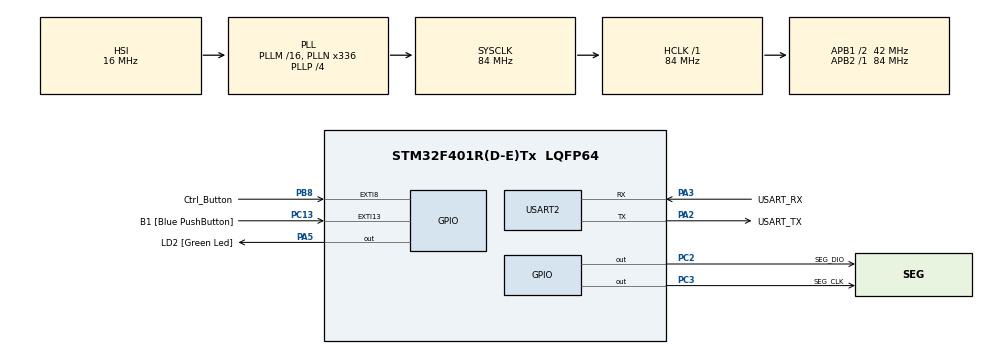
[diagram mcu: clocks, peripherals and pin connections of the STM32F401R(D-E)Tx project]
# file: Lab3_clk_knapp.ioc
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Mcu.Family=STM32F4
Mcu.Name=STM32F401R(D-E)Tx
Mcu.Package=LQFP64
NVIC.EXTI9_5_IRQn=true\:0\:0\:false\:false\:true\:true\:true\:true
NVIC.PriorityGroup=NVIC_PRIORITYGROUP_0
NVIC.TIM2_IRQn=true\:0\:0\:false\:false\:true\:true\:true\:true
PA13.GPIO_Label=TMS
PA13.Mode=Serial_Wire
PA13.Signal=SYS_JTMS-SWDIO
PA14.GPIO_Label=TCK
PA14.Mode=Serial_Wire
PA14.Signal=SYS_JTCK-SWCLK
PA2.GPIO_Label=USART_TX
PA2.GPIO_Mode=GPIO_MODE_AF_PP
PA2.GPIO_PuPd=GPIO_NOPULL
PA2.GPIO_Speed=GPIO_SPEED_FREQ_LOW
PA2.Mode=Asynchronous
PA2.Signal=USART2_TX
PA3.GPIO_Label=USART_RX
PA3.GPIO_Mode=GPIO_MODE_AF_PP
PA3.GPIO_PuPd=GPIO_NOPULL
PA3.GPIO_Speed=GPIO_SPEED_FREQ_LOW
PA3.Mode=Asynchronous
PA3.Signal=USART2_RX
PA5.GPIO_Label=LD2 [Green Led]
PA5.GPIO_Mode=GPIO_MODE_OUTPUT_PP
PA5.GPIO_PuPd=GPIO_NOPULL
PA5.GPIO_Speed=GPIO_SPEED_FREQ_LOW
PA5.Signal=GPIO_Output
PB3.GPIO_Label=SWO
PB3.Signal=SYS_JTDO-SWO
PB8.GPIO_Label=Ctrl_Button
PB8.GPIO_ModeDefaultEXTI=GPIO_MODE_IT_FALLING
PB8.GPIO_PuPd=GPIO_NOPULL
PB8.Signal=GPXTI8
PC13-ANTI_TAMP.GPIO_Label=B1 [Blue PushButton]
PC13-ANTI_TAMP.GPIO_ModeDefaultEXTI=GPIO_MODE_IT_FALLING
PC13-ANTI_TAMP.GPIO_PuPd=GPIO_NOPULL
PC13-ANTI_TAMP.Signal=GPXTI13
PC14-OSC32_IN.Mode=LSE-External-Oscillator
PC14-OSC32_IN.Signal=RCC_OSC32_IN
PC15-OSC32_OUT.Mode=LSE-External-Oscillator
PC15-OSC32_OUT.Signal=RCC_OSC32_OUT
PC2.GPIO_Label=SEG_DIO
PC2.GPIO_ModeDefaultOutputPP=GPIO_MODE_OUTPUT_OD
PC2.GPIO_PuPd=GPIO_NOPULL
PC2.Signal=GPIO_Output
PC3.GPIO_Label=SEG_CLK
PC3.Signal=GPIO_Output
PH0\ -\ OSC_IN.Mode=HSE-External-Clock-Source
PH0\ -\ OSC_IN.Signal=RCC_OSC_IN
PH1\ -\ OSC_OUT.Mode=HSE-External-Clock-Source
PH1\ -\ OSC_OUT.Signal=RCC_OSC_OUT
ProjectManager.HeapSize=0x200
ProjectManager.StackSize=0x400
ProjectManager.TargetToolchain=STM32CubeIDE
RCC.48MHZClocksFreq_Value=48000000
RCC.AHBFreq_Value=84000000
RCC.APB1CLKDivider=RCC_HCLK_DIV2
RCC.APB1Freq_Value=42000000
RCC.APB1TimFreq_Value=84000000
RCC.APB2Freq_Value=84000000
RCC.APB2TimFreq_Value=84000000
RCC.CortexFreq_Value=84000000
RCC.HCLKFreq_Value=84000000
RCC.HSE_VALUE=8000000
RCC.HSI_VALUE=16000000
RCC.PLLN=336
RCC.PLLP=RCC_PLLP_DIV4
RCC.PLLQ=7
RCC.SYSCLKFreq_VALUE=84000000
RCC.SYSCLKSource=RCC_SYSCLKSOURCE_PLLCLK
RCC.VCOOutputFreq_Value=336000000
TIM2.Period=21000000-1
TIM2.Prescaler=2-1
USART2.VirtualMode=VM_ASYNC
VP_TIM2_VS_ClockSourceINT.Mode=Internal
board=NUCLEO-F401RE

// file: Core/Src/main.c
/* USER CODE BEGIN Header */
/**
  ******************************************************************************
  * @file           : main.c
  * @brief          : Main program body
  ******************************************************************************
  * @attention
  *
  * Copyright (c) 2024 STMicroelectronics.
  * All rights reserved.
  *
  * This software is licensed under terms that can be found in the LICENSE file
  * in the root directory of this software component.
  * If no LICENSE file comes with this software, it is provided AS-IS.
  *
  ******************************************************************************
  */
/* USER CODE END Header */
#include "main.h"
#include "quad_sseg.h"
#include <stdio.h>
#include <string.h>

/* USER CODE BEGIN PM */
#define BOUNCE_DELAY_MS 10
/* USER CODE END PM */

TIM_HandleTypeDef htim2;

UART_HandleTypeDef huart2;

void SystemClock_Config(void);
static void MX_GPIO_Init(void);
static void MX_USART2_UART_Init(void);
static void MX_TIM2_Init(void);

/* USER CODE BEGIN PFP */
uint16_t button_exti_count; //ska hålla antalet gånger interruptrutinen/callback-funktionen körts
uint16_t button_debounced_count; // håller hur många gånger användaren upplever att de tryckt på knappen
uint8_t unhandled_exti;
uint32_t last_flank_causing_exti;
uint32_t sekunder = 45;
uint32_t minuter = 59;
uint32_t timmar = 23;
uint8_t colon_state = 0;
uint16_t b1_pressed;
uint8_t half_sec = 0;
/* USER CODE END PFP */

/* USER CODE BEGIN 0 */
void uart_print_menu(void) {
	char menu[] = "Select a mode:\r\n"
			"1. Clock Mode\r\n"
			"2. Button Mode\r\n";
	HAL_UART_Transmit(&huart2, (uint8_t*) menu, strlen(menu), HAL_MAX_DELAY);
}

int uart_get_menu_choice() {
	char str[1] = { '\0' };
	uint16_t str_len = 1;

	HAL_UART_Receive(&huart2, (uint8_t*) str, str_len, HAL_MAX_DELAY);

	int ret = -1;
	sscanf(str, "%d", &ret);
	return ret;
}

void uart_print_bad_choice()
{
	char str [] = "You select an invalid choice, try again\n";
	HAL_UART_Transmit(&huart2, (uint8_t *)str, strlen(str), HAL_MAX_DELAY);
}

void clock_mode(void)
{

	 while (1)
	 {
		 HAL_TIM_Base_Start_IT(&htim2);
		 b1_pressed = GPIO_PIN_RESET == HAL_GPIO_ReadPin(B1_GPIO_Port, B1_Pin);
		 if (b1_pressed)
		 {
			  qs_put_digits(timmar / 10, timmar % 10, minuter / 10, minuter % 10, colon_state);
		 }else {
			 qs_put_digits(minuter / 10, minuter % 10, sekunder / 10, sekunder % 10, colon_state);
		 }

	 }
}

void button_mode(void)
 {
	int pressed;
	uint32_t now = HAL_GetTick();
	uint32_t passed_time = now - last_flank_causing_exti;
	while (1) {

		if (unhandled_exti) // was set in interrupt
		{
			if (passed_time >= BOUNCE_DELAY_MS)
			{
				pressed = GPIO_PIN_RESET
						== HAL_GPIO_ReadPin(Ctrl_Button_GPIO_Port,
						Ctrl_Button_Pin);
				if (pressed) {
					button_debounced_count++;
				}
			}

			unhandled_exti = 0;
		}
		b1_pressed = GPIO_PIN_RESET == HAL_GPIO_ReadPin(B1_GPIO_Port, B1_Pin);
		if (b1_pressed) {  // Om B1 är nedtryckt
			qs_put_big_num(button_exti_count); // Visa antalet interrupt (med studsar)
		} else {  // Om B1 är släppt
			qs_put_big_num(button_debounced_count); // Visa de avstudsade knapptryckningarna
		}

	}
}

void HAL_GPIO_EXTI_Callback(uint16_t GPIO_Pin)
{
    if (GPIO_Pin == Ctrl_Button_Pin) {
          button_exti_count++;
          unhandled_exti= 1;
          last_flank_causing_exti = HAL_GetTick();

    }

}

void HAL_TIM_PeriodElapsedCallback(TIM_HandleTypeDef *htim)
{

	if (htim->Instance == TIM2)
	{
		colon_state = (colon_state + 1) % 2;
		half_sec ++;
		if (half_sec >= 2)
		{
			half_sec = 0;
			sekunder++;

			if (sekunder >= 60)
			{
				sekunder = 0;
				minuter++;
				if (minuter >= 60)
				{
					minuter = 0;
					timmar++;
					if (timmar >= 24)
					{
						timmar = 0;
					}
				}
			}

		}
	}
}

/* USER CODE END 0 */

int main(void)
{

  /* MCU Configuration--------------------------------------------------------*/

  /* Reset of all peripherals, Initializes the Flash interface and the Systick. */
	HAL_Init();

  /* Configure the system clock */
  SystemClock_Config();

  /* Initialize all configured peripherals */
  MX_GPIO_Init();
  MX_USART2_UART_Init();
  MX_TIM2_Init();

  /* Infinite loop */
  /* USER CODE BEGIN WHILE */
	while (1) {
		/*for (int i = 0; i < 10; i++) {
		    uint32_t dly =250;    // Anropa funktionen num25 med argumenten 0 och i
		    qs_put_big_num(i);
		    HAL_Delay(dly);
		    qs_put_digits(i,i,i,i,0);
		    HAL_Delay(dly);                             // Ny// Fördröjning med HAL_Delay
		    qs_put_digits(i,i,i,i,1);
		    HAL_Delay(dly);                             // Ny fördröjning med HAL_Delay
		}*/

		uart_print_menu();
		int menu_choice = uart_get_menu_choice();
		{
			switch (menu_choice)
			{
				case 1:
					clock_mode(); // Call function for clock mode
					break;
				case 2:
					button_mode(); // Call function for button mode
					break;
				default:
					uart_print_bad_choice(); // Print error message for invalid choice
					uart_print_menu(); // Reprint the menu
					break;
			}
		}
    /* USER CODE END WHILE */

	}
}

void SystemClock_Config(void)
{
  RCC_OscInitTypeDef RCC_OscInitStruct = {0};
  RCC_ClkInitTypeDef RCC_ClkInitStruct = {0};

  /** Configure the main internal regulator output voltage
  */
  __HAL_RCC_PWR_CLK_ENABLE();
  __HAL_PWR_VOLTAGESCALING_CONFIG(PWR_REGULATOR_VOLTAGE_SCALE2);

  /** Initializes the RCC Oscillators according to the specified parameters
  * in the RCC_OscInitTypeDef structure.
  */
  RCC_OscInitStruct.OscillatorType = RCC_OSCILLATORTYPE_HSI;
  RCC_OscInitStruct.HSIState = RCC_HSI_ON;
  RCC_OscInitStruct.HSICalibrationValue = RCC_HSICALIBRATION_DEFAULT;
  RCC_OscInitStruct.PLL.PLLState = RCC_PLL_ON;
  RCC_OscInitStruct.PLL.PLLSource = RCC_PLLSOURCE_HSI;
  RCC_OscInitStruct.PLL.PLLM = 16;
  RCC_OscInitStruct.PLL.PLLN = 336;
  RCC_OscInitStruct.PLL.PLLP = RCC_PLLP_DIV4;
  RCC_OscInitStruct.PLL.PLLQ = 7;
  if (HAL_RCC_OscConfig(&RCC_OscInitStruct) != HAL_OK)
  {
    Error_Handler();
  }

  /** Initializes the CPU, AHB and APB buses clocks
  */
  RCC_ClkInitStruct.ClockType = RCC_CLOCKTYPE_HCLK|RCC_CLOCKTYPE_SYSCLK
                              |RCC_CLOCKTYPE_PCLK1|RCC_CLOCKTYPE_PCLK2;
  RCC_ClkInitStruct.SYSCLKSource = RCC_SYSCLKSOURCE_PLLCLK;
  RCC_ClkInitStruct.AHBCLKDivider = RCC_SYSCLK_DIV1;
  RCC_ClkInitStruct.APB1CLKDivider = RCC_HCLK_DIV2;
  RCC_ClkInitStruct.APB2CLKDivider = RCC_HCLK_DIV1;

  if (HAL_RCC_ClockConfig(&RCC_ClkInitStruct, FLASH_LATENCY_2) != HAL_OK)
  {
    Error_Handler();
  }
}

static void MX_TIM2_Init(void)
{

  TIM_ClockConfigTypeDef sClockSourceConfig = {0};
  TIM_MasterConfigTypeDef sMasterConfig = {0};

  htim2.Instance = TIM2;
  htim2.Init.Prescaler = 2-1;
  htim2.Init.CounterMode = TIM_COUNTERMODE_UP;
  htim2.Init.Period = 21000000-1;
  htim2.Init.ClockDivision = TIM_CLOCKDIVISION_DIV1;
  htim2.Init.AutoReloadPreload = TIM_AUTORELOAD_PRELOAD_DISABLE;
  if (HAL_TIM_Base_Init(&htim2) != HAL_OK)
  {
    Error_Handler();
  }
  sClockSourceConfig.ClockSource = TIM_CLOCKSOURCE_INTERNAL;
  if (HAL_TIM_ConfigClockSource(&htim2, &sClockSourceConfig) != HAL_OK)
  {
    Error_Handler();
  }
  sMasterConfig.MasterOutputTrigger = TIM_TRGO_RESET;
  sMasterConfig.MasterSlaveMode = TIM_MASTERSLAVEMODE_DISABLE;
  if (HAL_TIMEx_MasterConfigSynchronization(&htim2, &sMasterConfig) != HAL_OK)
  {
    Error_Handler();
  }

}

static void MX_USART2_UART_Init(void)
{

  huart2.Instance = USART2;
  huart2.Init.BaudRate = 115200;
  huart2.Init.WordLength = UART_WORDLENGTH_8B;
  huart2.Init.StopBits = UART_STOPBITS_1;
  huart2.Init.Parity = UART_PARITY_NONE;
  huart2.Init.Mode = UART_MODE_TX_RX;
  huart2.Init.HwFlowCtl = UART_HWCONTROL_NONE;
  huart2.Init.OverSampling = UART_OVERSAMPLING_16;
  if (HAL_UART_Init(&huart2) != HAL_OK)
  {
    Error_Handler();
  }

}

static void MX_GPIO_Init(void)
{
  GPIO_InitTypeDef GPIO_InitStruct = {0};

  /* GPIO Ports Clock Enable */
  __HAL_RCC_GPIOC_CLK_ENABLE();
  __HAL_RCC_GPIOH_CLK_ENABLE();
  __HAL_RCC_GPIOA_CLK_ENABLE();
  __HAL_RCC_GPIOB_CLK_ENABLE();

  /*Configure GPIO pin Output Level */
  HAL_GPIO_WritePin(GPIOC, SEG_DIO_Pin|SEG_CLK_Pin, GPIO_PIN_RESET);

  /*Configure GPIO pin Output Level */
  HAL_GPIO_WritePin(LD2_GPIO_Port, LD2_Pin, GPIO_PIN_RESET);

  /*Configure GPIO pin : B1_Pin */
  GPIO_InitStruct.Pin = B1_Pin;
  GPIO_InitStruct.Mode = GPIO_MODE_IT_FALLING;
  GPIO_InitStruct.Pull = GPIO_NOPULL;
  HAL_GPIO_Init(B1_GPIO_Port, &GPIO_InitStruct);

  /*Configure GPIO pin : SEG_DIO_Pin */
  GPIO_InitStruct.Pin = SEG_DIO_Pin;
  GPIO_InitStruct.Mode = GPIO_MODE_OUTPUT_OD;
  GPIO_InitStruct.Pull = GPIO_NOPULL;
  GPIO_InitStruct.Speed = GPIO_SPEED_FREQ_LOW;
  HAL_GPIO_Init(SEG_DIO_GPIO_Port, &GPIO_InitStruct);

  /*Configure GPIO pin : SEG_CLK_Pin */
  GPIO_InitStruct.Pin = SEG_CLK_Pin;
  GPIO_InitStruct.Mode = GPIO_MODE_OUTPUT_PP;
  GPIO_InitStruct.Pull = GPIO_NOPULL;
  GPIO_InitStruct.Speed = GPIO_SPEED_FREQ_LOW;
  HAL_GPIO_Init(SEG_CLK_GPIO_Port, &GPIO_InitStruct);

  /*Configure GPIO pin : LD2_Pin */
  GPIO_InitStruct.Pin = LD2_Pin;
  GPIO_InitStruct.Mode = GPIO_MODE_OUTPUT_PP;
  GPIO_InitStruct.Pull = GPIO_NOPULL;
  GPIO_InitStruct.Speed = GPIO_SPEED_FREQ_LOW;
  HAL_GPIO_Init(LD2_GPIO_Port, &GPIO_InitStruct);

  /*Configure GPIO pin : Ctrl_Button_Pin */
  GPIO_InitStruct.Pin = Ctrl_Button_Pin;
  GPIO_InitStruct.Mode = GPIO_MODE_IT_FALLING;
  GPIO_InitStruct.Pull = GPIO_NOPULL;
  HAL_GPIO_Init(Ctrl_Button_GPIO_Port, &GPIO_InitStruct);

  /* EXTI interrupt init*/
  HAL_NVIC_SetPriority(EXTI9_5_IRQn, 0, 0);
  HAL_NVIC_EnableIRQ(EXTI9_5_IRQn);

}

void Error_Handler(void)
{
  __disable_irq();
  while (1)
  {
  }
}
